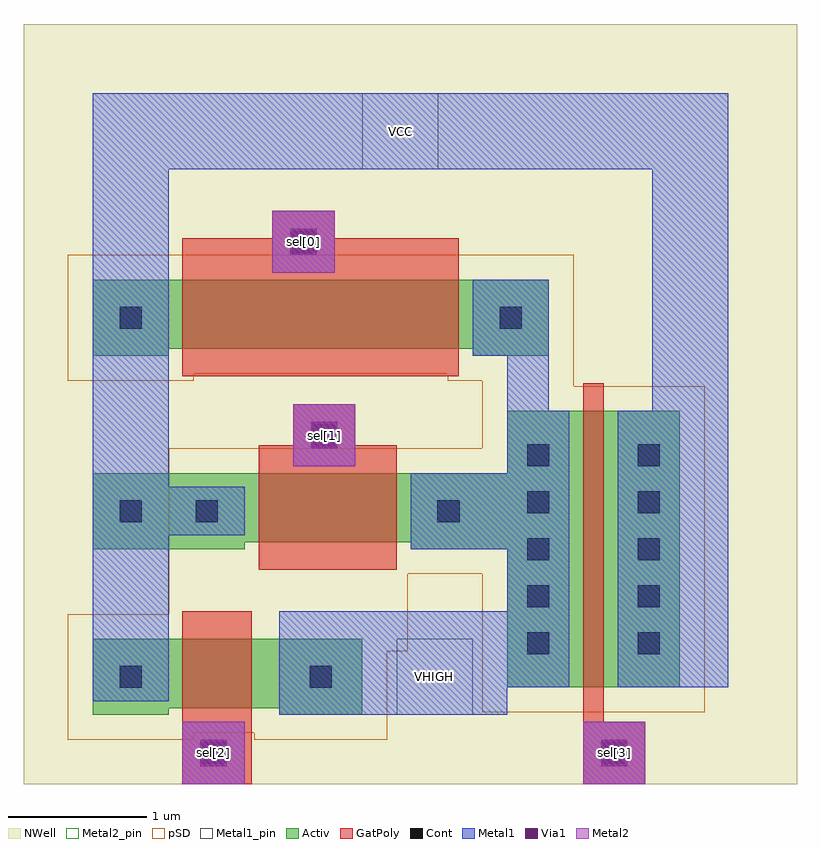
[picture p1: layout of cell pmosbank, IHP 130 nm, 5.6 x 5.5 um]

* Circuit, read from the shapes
.subckt pmosbank VCC VHIGH sel[0] sel[1] sel[2] sel[3]
XM1 VHIGH sel[2] VCC VCC sg13_lv_pmos w=0.5u l=0.5u
XM2 VHIGH sel[0] VCC VCC sg13_lv_pmos w=0.5u l=2u
XM3 VHIGH sel[1] VCC VCC sg13_lv_pmos w=0.5u l=1u
XM4 VCC sel[3] VHIGH VCC sg13_lv_pmos w=2u l=0.15u
.ends

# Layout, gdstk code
import gdstk
lib = gdstk.Library(unit=1e-6, precision=1e-09)
def R(c, l, rs):  # rectangles x0, y0, x1, y1
    for r in rs: c.add(gdstk.rectangle(r[:2], r[2:], *l))
def A(c, l, x, y, w, h, nx, ny, dx, dy):  # array of equal rectangles
    R(c, l, [(x+i*dx, y+j*dy, x+i*dx+w, y+j*dy+h) for i in range(nx) for j in range(ny)])
Activ = (1, 0)
GatPoly = (5, 0)
Cont = (6, 0)
Metal1 = (8, 0)
Metal1_pin = (8, 2)
Metal2 = (10, 0)
Metal2_pin = (10, 2)
pSD = (14, 0)
Via1 = (19, 0)
NWell = (31, 0)

pmosbank = lib.new_cell('pmosbank')
R(pmosbank, Activ, [(-0.65,-2.5,-0.1,-2.45), (0.7,-2.5,1.3,-2.45), (-0.65,-2.45,1.3,-1.95), (2.35,-2.3,3.6,-1.3), (-0.65,-1.3,0.45,-1.25), (1.65,-1.3,3.6,-1.25), (-0.65,-1.25,3.6,-0.75), (2.35,-0.75,3.6,-0.3), (-0.65,0.1,-0.1,0.15), (2.1,0.1,2.65,0.15), (-0.65,0.15,2.65,0.65)])
R(pmosbank, GatPoly, [(0,-3,0.5,-1.75), (2.9,-3,3.35,-2.55), (2.9,-2.55,3.05,-0.1), (0.55,-1.45,1.55,-0.55), (0.8,-0.55,1.25,-0.25), (0,-0.05,2,0.95), (0.65,0.95,1.1,1.15)])
A(pmosbank, Cont, 2.495, -2.06, 0.16, 0.16, 1, 5, 0, 0.34)
A(pmosbank, Cont, 3.295, -2.06, 0.16, 0.16, 1, 5, 0, 0.34)
R(pmosbank, Cont, [(0.145,-2.855,0.305,-2.695), (3.045,-2.855,3.205,-2.695), (-0.455,-2.305,-0.295,-2.145), (0.92,-2.305,1.08,-2.145), (-0.455,-1.105,-0.295,-0.945), (0.095,-1.105,0.255,-0.945), (1.845,-1.105,2.005,-0.945), (0.945,-0.555,1.105,-0.395), (-0.455,0.295,-0.295,0.455), (2.295,0.295,2.455,0.455), (0.795,0.845,0.955,1.005)])
R(pmosbank, Metal1, [(0,-3,0.45,-2.55), (2.9,-3,3.35,-2.55), (0.7,-2.5,2.35,-2.3), (-0.65,-2.4,-0.1,-1.2), (0.7,-2.3,2.8,-1.75), (3.15,-2.3,3.95,-0.3), (2.35,-1.75,2.8,-1.3), (1.65,-1.3,2.8,-0.75), (-0.65,-1.2,0.45,-0.85), (-0.65,-0.85,-0.1,1.45), (2.35,-0.75,2.8,-0.3), (0.8,-0.7,1.25,-0.25), (2.35,-0.3,2.65,0.1), (3.4,-0.3,3.95,1.45), (2.1,0.1,2.65,0.65), (0.65,0.7,1.1,1.15), (-0.65,1.45,3.95,2)])
R(pmosbank, Metal1_pin, [(1.55,-2.5,2.1,-1.95), (1.3,1.45,1.85,2)])
R(pmosbank, Metal2, [(0,-3,0.45,-2.55), (2.9,-3,3.35,-2.55), (0.8,-0.7,1.25,-0.25), (0.65,0.7,1.1,1.15)])
R(pmosbank, Metal2_pin, [(0,-3,0.45,-2.55), (2.9,-3,3.35,-2.55), (0.8,-0.7,1.25,-0.25), (0.65,0.7,1.1,1.15)])
R(pmosbank, pSD, [(-0.83,-2.68,0.08,-2.63), (0.52,-2.68,1.48,-2.63), (-0.83,-2.63,1.48,-2.04), (2.17,-2.48,3.78,-1.48), (-0.83,-2.04,1.63,-1.77), (-0.1,-1.77,1.63,-1.48), (-0.1,-1.48,3.78,-0.57), (2.17,-0.57,3.78,-0.12), (2.17,-0.12,2.83,-0.08), (-0.83,-0.08,0.08,-0.03), (1.92,-0.08,2.83,-0.03), (-0.83,-0.03,2.83,0.83)])
R(pmosbank, Via1, [(0.13,-2.87,0.32,-2.68), (3.03,-2.87,3.22,-2.68), (0.93,-0.57,1.12,-0.38), (0.78,0.83,0.97,1.02)])
R(pmosbank, NWell, [(-1.15,-3,4.45,2.5)])
pmosbank.add(gdstk.Label('VHIGH', (1.825,-2.225), layer=8, texttype=25))
pmosbank.add(gdstk.Label('VCC', (1.575,1.725), layer=8, texttype=25))
pmosbank.add(gdstk.Label('sel[2]', (0.225,-2.775), layer=10, texttype=25))
pmosbank.add(gdstk.Label('sel[1]', (1.025,-0.475), layer=10, texttype=25))
pmosbank.add(gdstk.Label('sel[3]', (3.125,-2.775), layer=10, texttype=25))
pmosbank.add(gdstk.Label('sel[0]', (0.875,0.925), layer=10, texttype=25))

lib.write_gds('pmosbank.gds')
